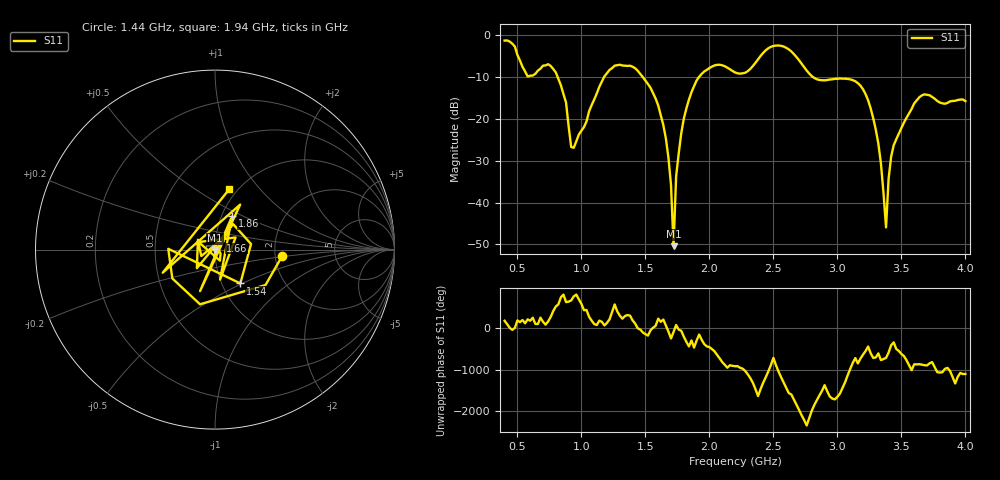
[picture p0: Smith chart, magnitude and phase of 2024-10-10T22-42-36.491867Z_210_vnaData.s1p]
! Created with skrf (http://scikit-rf.org).
# Hz S RI R 50.0
!freq ReS11 ImS11
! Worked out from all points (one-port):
!   181 points, 400 MHz to 4 GHz, reference 50 ohm
!   lowest |S11| = -50.4 dB at 1.72 GHz (marker M1), VSWR 1.01, Z = 50 - j0.3 ohm
!   |S11| at or under -10 dB: 814 MHz to 1.177 GHz (363.2 MHz wide, 36.5 % of centre); 1.48 GHz to 1.919 GHz (438.8 MHz wide, 25.8 % of centre); 2.809 GHz to end of sweep
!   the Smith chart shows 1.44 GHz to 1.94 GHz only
!   S11 on the Smith chart (normalised r, x): 1.44 GHz: 2.19, -0.18; 1.54 GHz: 1.22, -0.49; 1.66 GHz: 1.06, +0.11; 1.86 GHz: 1.12, +0.43; 1.94 GHz: 0.92, +0.70
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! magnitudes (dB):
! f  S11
! 400 MHz  -1.3
! 580 MHz  -9.9
! 760 MHz  -7.4
! 860 MHz  -14.1
! 940 MHz  -26.9
! 1.18 GHz  -9.8
! 1.3 GHz  -7.1
! 1.44 GHz  -8.5
! 1.54 GHz  -12.6
! 1.66 GHz  -24.7
! 1.7 GHz  -35.8
! 1.72 GHz  -50.4
! 1.74 GHz  -33.7
! 1.76 GHz  -28.3
! 1.86 GHz  -13.6
! 1.94 GHz  -9.2
! 2.2 GHz  -8.9
! 2.5 GHz  -2.6
! 2.66 GHz  -4.5
! 2.84 GHz  -10.5
! 3.1 GHz  -10.6
! 3.28 GHz  -19.9
! 3.34 GHz  -30.6
! 3.38 GHz  -46.0
! 3.42 GHz  -29.0
! 3.56 GHz  -18.7
! 3.68 GHz  -14.1
! 4 GHz  -15.7
